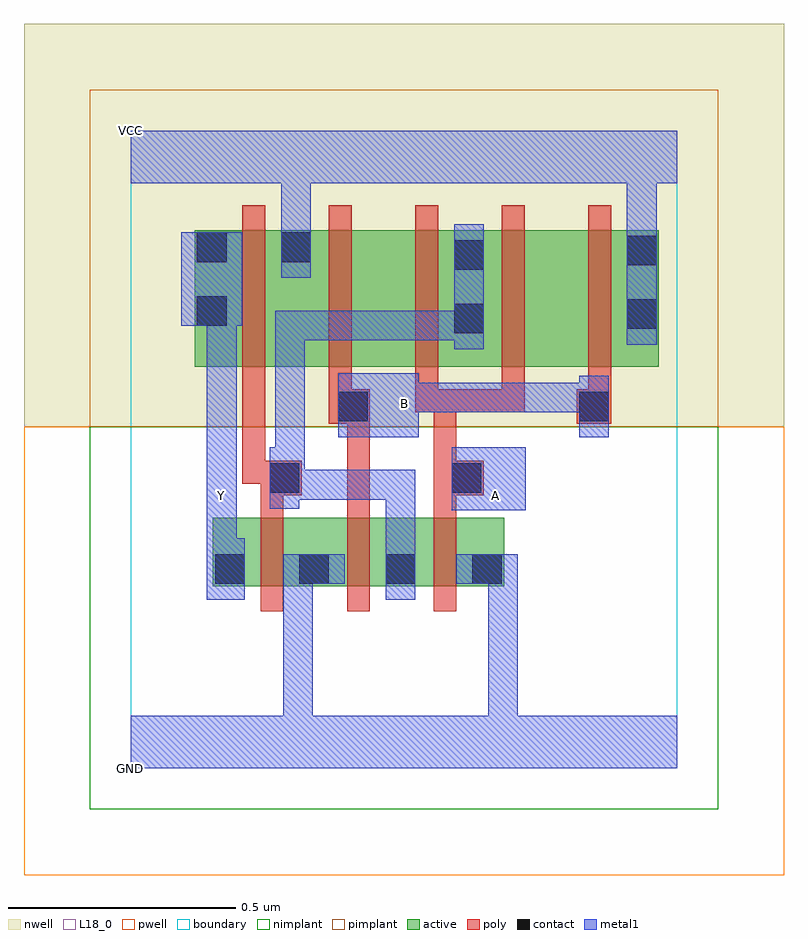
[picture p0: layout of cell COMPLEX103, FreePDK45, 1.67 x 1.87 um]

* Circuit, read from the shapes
.subckt COMPLEX103 A B GND VCC Y
M1 GND n1 Y VSUBS nfet w=0.15u l=0.05u
M2 n1 B GND VSUBS nfet w=0.15u l=0.05u
M3 GND A n1 VSUBS nfet w=0.15u l=0.05u
M4 VCC n1 Y n2 pfet w=0.3u l=0.05u
M5 n3 B VCC n2 pfet w=0.3u l=0.05u
M6 n1 A n3 n2 pfet w=0.3u l=0.05u
M7 n4 A n1 n2 pfet w=0.3u l=0.05u
M8 VCC B n4 n2 pfet w=0.3u l=0.05u
.ends

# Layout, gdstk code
import gdstk
lib = gdstk.Library(unit=1e-6, precision=1e-09)
def R(c, l, rs):  # rectangles x0, y0, x1, y1
    for r in rs: c.add(gdstk.rectangle(r[:2], r[2:], *l))
def A(c, l, x, y, w, h, nx, ny, dx, dy):  # array of equal rectangles
    R(c, l, [(x+i*dx, y+j*dy, x+i*dx+w, y+j*dy+h) for i in range(nx) for j in range(ny)])
active = (1, 0)
pwell = (2, 0)
nwell = (3, 0)
nimplant = (4, 0)
pimplant = (5, 0)
poly = (9, 0)
contact = (10, 0)
metal1 = (11, 0)
L18_0 = (18, 0)
boundary = (235, 0)

complex103 = lib.new_cell('COMPLEX103')
R(complex103, active, [(0.18,0.4,0.255,0.55), (0.18,0.4,0.44,0.55), (0.365,0.4,0.63,0.55), (0.365,0.4,0.44,0.545), (0.555,0.4,0.63,0.55), (0.555,0.4,0.82,0.55), (0.745,0.4,0.82,0.55), (0.14,0.882,0.4,1.182), (0.14,0.882,0.215,1.182), (0.325,0.882,0.555,1.182), (0.555,0.882,0.78,1.182), (0.705,0.882,0.935,1.182), (0.935,0.882,1.16,1.182), (1.085,0.882,1.16,1.175), (0.705,0.95,0.78,1.165), (0.325,1.007,0.4,1.182)])
R(complex103, pwell, [(-0.235,-0.235,1.435,0.75)])
R(complex103, nwell, [(-0.235,0.75,1.435,1.635)])
R(complex103, nimplant, [(-0.09,-0.09,1.29,0.75)])
R(complex103, pimplant, [(-0.09,0.75,1.29,1.49)])
A(complex103, poly, 0.285, 0.345, 0.05, 0.26, 3, 1, 0.19, 0)
A(complex103, poly, 0.435, 0.782, 0.05, 0.095, 4, 1, 0.19, 0)
A(complex103, poly, 0.245, 0.827, 0.05, 0.41, 5, 1, 0.19, 0)
R(complex103, poly, [(0.285,0.555,0.335,0.65), (0.475,0.555,0.525,0.807), (0.665,0.555,0.715,0.65), (0.285,0.6,0.375,0.675), (0.665,0.6,0.775,0.675), (0.245,0.625,0.335,0.675), (0.245,0.625,0.295,0.877), (0.285,0.625,0.335,0.675), (0.665,0.625,0.715,0.832), (0.435,0.757,0.525,0.832), (0.475,0.757,0.525,0.807), (0.475,0.757,0.525,0.807), (0.98,0.757,1.055,0.832), (0.625,0.782,0.715,0.832), (0.665,0.782,0.865,0.832), (0.665,0.782,0.715,0.832), (0.665,0.782,0.715,0.832), (0.815,0.782,0.865,0.832)])
A(complex103, contact, 0.37, 0.405, 0.065, 0.065, 3, 1, 0.19, 0)
R(complex103, contact, [(0.185,0.405,0.25,0.47), (0.305,0.605,0.37,0.67), (0.705,0.605,0.77,0.67), (0.455,0.762,0.52,0.827), (0.985,0.762,1.05,0.827), (0.71,0.955,0.775,1.02), (1.09,0.965,1.155,1.03), (0.145,0.972,0.21,1.037), (0.71,1.095,0.775,1.16), (1.09,1.105,1.155,1.17), (0.145,1.112,0.21,1.177), (0.33,1.112,0.395,1.177)])
R(complex103, metal1, [(0,0,1.2,0.115), (0.335,0.05,0.4,0.47), (0.785,0.05,0.85,0.115), (0.785,0.05,0.85,0.115), (0.785,0.05,0.85,0.115), (0.785,0.05,0.85,0.115), (0.785,0.05,0.85,0.47), (0.167,0.37,0.25,0.505), (0.56,0.37,0.625,0.505), (0.335,0.405,0.4,0.47), (0.335,0.405,0.4,0.47), (0.335,0.405,0.4,0.47), (0.335,0.405,0.4,0.47), (0.335,0.405,0.47,0.47), (0.715,0.405,0.85,0.47), (0.167,0.44,0.232,0.597), (0.56,0.44,0.625,0.655), (0.167,0.532,0.232,0.667), (0.705,0.567,0.867,0.705), (0.305,0.57,0.37,0.705), (0.305,0.59,0.382,0.655), (0.317,0.59,0.382,0.655), (0.317,0.59,0.625,0.655), (0.317,0.59,0.382,1.005), (0.56,0.59,0.625,0.655), (0.56,0.59,0.625,0.655), (0.56,0.59,0.625,0.655), (0.167,0.602,0.232,1.037), (0.455,0.727,0.632,0.867), (0.985,0.727,1.05,0.862), (0.567,0.782,0.632,0.847), (0.567,0.782,0.632,0.847), (0.567,0.782,0.775,0.847), (0.71,0.782,0.775,0.847), (0.71,0.782,0.775,0.847), (0.71,0.782,0.775,0.847), (0.71,0.782,0.912,0.847), (0.847,0.782,0.912,0.847), (0.847,0.782,0.912,0.847), (0.847,0.782,0.912,0.847), (0.847,0.782,1.05,0.847), (0.71,0.92,0.775,1.195), (1.09,0.93,1.155,1.205), (0.317,0.94,0.382,1.005), (0.317,0.94,0.382,1.005), (0.317,0.94,0.382,1.005), (0.317,0.94,0.52,1.005), (0.455,0.94,0.52,1.005), (0.455,0.94,0.52,1.005), (0.455,0.94,0.52,1.005), (0.455,0.94,0.775,1.005), (0.71,0.94,0.775,1.005), (0.71,0.94,0.775,1.005), (0.11,0.972,0.245,1.177), (0.167,0.972,0.232,1.037), (0.167,0.972,0.232,1.037), (0.33,1.077,0.395,1.212), (1.09,1.14,1.155,1.35), (0.33,1.147,0.395,1.35), (0,1.285,1.2,1.4), (0.33,1.285,0.395,1.35), (0.33,1.285,0.395,1.35), (1.09,1.285,1.155,1.35), (1.09,1.285,1.155,1.35)])
R(complex103, L18_0, [(0,0,1.2,0.115), (0.335,0.05,0.4,0.47), (0.785,0.05,0.85,0.115), (0.785,0.05,0.85,0.115), (0.785,0.05,0.85,0.115), (0.785,0.05,0.85,0.115), (0.785,0.05,0.85,0.47), (0.167,0.37,0.25,0.505), (0.335,0.405,0.4,0.47), (0.335,0.405,0.4,0.47), (0.335,0.405,0.4,0.47), (0.335,0.405,0.4,0.47), (0.335,0.405,0.47,0.47), (0.715,0.405,0.85,0.47), (0.167,0.44,0.232,0.597), (0.167,0.532,0.232,0.667), (0.167,0.567,0.232,0.632), (0.705,0.567,0.867,0.705), (0.767,0.567,0.832,0.632), (0.167,0.602,0.232,1.037), (0.455,0.727,0.632,0.867), (0.985,0.727,1.05,0.862), (0.567,0.767,0.632,0.832), (0.567,0.782,0.632,0.847), (0.567,0.782,0.632,0.847), (0.567,0.782,0.775,0.847), (0.71,0.782,0.775,0.847), (0.71,0.782,0.775,0.847), (0.71,0.782,0.775,0.847), (0.71,0.782,0.912,0.847), (0.847,0.782,0.912,0.847), (0.847,0.782,0.912,0.847), (0.847,0.782,0.912,0.847), (0.847,0.782,1.05,0.847), (1.09,0.93,1.155,1.205), (0.11,0.972,0.245,1.177), (0.167,0.972,0.232,1.037), (0.167,0.972,0.232,1.037), (0.33,1.077,0.395,1.212), (1.09,1.14,1.155,1.35), (0.33,1.147,0.395,1.35), (0,1.285,1.2,1.4), (0.33,1.285,0.395,1.35), (0.33,1.285,0.395,1.35), (1.09,1.285,1.155,1.35), (1.09,1.285,1.155,1.35)])
R(complex103, boundary, [(0,0,1.2,1.4)])
complex103.add(gdstk.Label('A', (0.8,0.6), layer=11, texttype=0))
complex103.add(gdstk.Label('B', (0.6,0.8), layer=11, texttype=0))
complex103.add(gdstk.Label('Y', (0.2,0.6), layer=11, texttype=0))
complex103.add(gdstk.Label('VCC', (0,1.4), layer=11, texttype=0))
complex103.add(gdstk.Label('GND', (0,0), layer=11, texttype=0))

lib.write_gds('COMPLEX103.gds')
